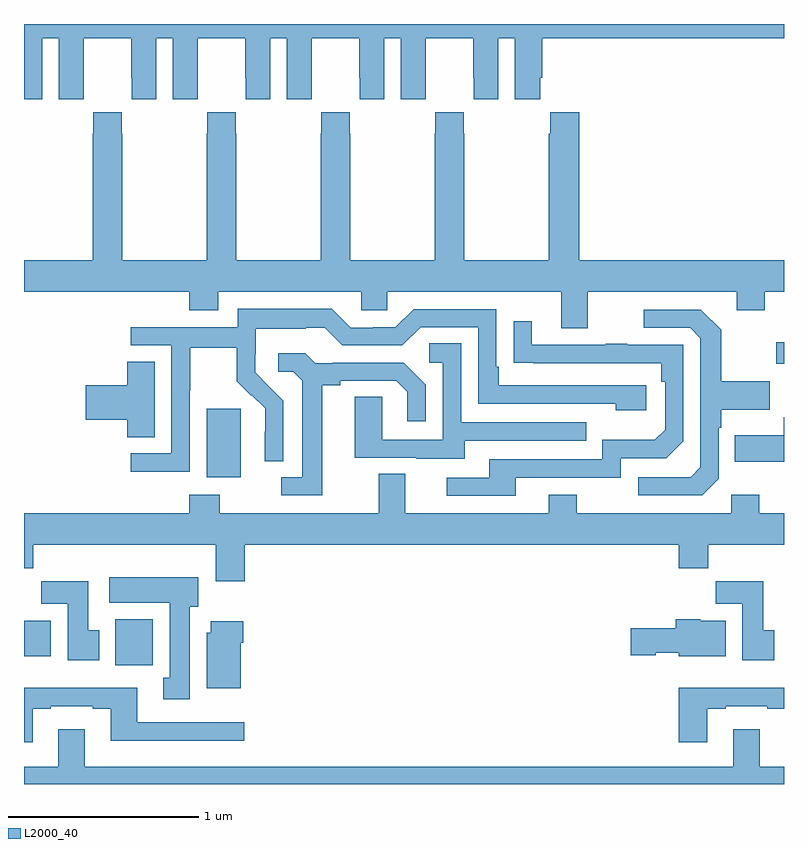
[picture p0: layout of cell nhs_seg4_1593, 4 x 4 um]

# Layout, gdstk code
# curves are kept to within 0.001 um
import gdstk
lib = gdstk.Library(unit=1e-6, precision=1e-09)
def R(c, l, rs):  # rectangles x0, y0, x1, y1
    for r in rs: c.add(gdstk.rectangle(r[:2], r[2:], *l))
def P(c, l, *ps):  # polygons
    for p in ps: c.add(gdstk.Polygon(p, *l))
L2000_40 = (2000, 40)

nhs_seg4_1593 = lib.new_cell('nhs_seg4_1593')
R(nhs_seg4_1593, L2000_40, [(193.481,789.524,193.678,789.766), (193,789.572,193.141,789.76), (193.961,790.514,194.14,790.875), (196.959,791.111,197,791.224)])
P(nhs_seg4_1593, L2000_40, [(193.096,792.824),(193.184,792.824),(193.184,792.504),(193.314,792.504),(193.314,792.616),(193.315,792.616),(193.315,792.824),(193.565,792.824),(193.565,792.616),(193.566,792.616),(193.566,792.504),(193.696,792.504),(193.696,792.824),(193.784,792.824),(193.784,792.504),(193.914,792.504),(193.914,792.616),(193.915,792.616),(193.915,792.824),(194.165,792.824),(194.165,792.616),(194.166,792.616),(194.166,792.504),(194.296,792.504),(194.296,792.824),(194.384,792.824),(194.384,792.504),(194.514,792.504),(194.514,792.616),(194.515,792.616),(194.515,792.824),(194.765,792.824),(194.765,792.616),(194.766,792.616),(194.766,792.504),(194.896,792.504),(194.896,792.824),(194.984,792.824),(194.984,792.504),(195.114,792.504),(195.114,792.616),(195.115,792.616),(195.115,792.824),(195.365,792.824),(195.365,792.616),(195.366,792.616),(195.366,792.504),(195.496,792.504),(195.496,792.824),(195.584,792.824),(195.584,792.504),(195.718,792.504),(195.718,792.616),(195.728,792.616),(195.728,792.824),(197,792.824),(197,792.9),(193,792.9),(193,792.504),(193.096,792.504)],
  [(195.967,791.492),(196.751,791.492),(196.751,791.393),(196.899,791.393),(196.899,791.492),(197,791.492),(197,791.656),(195.923,791.656),(195.923,792.436),(195.769,792.436),(195.769,792.323),(195.763,792.323),(195.763,791.656),(195.318,791.656),(195.318,792.323),(195.315,792.323),(195.315,792.436),(195.165,792.436),(195.165,792.323),(195.163,792.323),(195.163,791.656),(194.718,791.656),(194.718,792.323),(194.715,792.323),(194.715,792.436),(194.565,792.436),(194.565,792.323),(194.563,792.323),(194.563,791.656),(194.118,791.656),(194.118,792.323),(194.115,792.323),(194.115,792.436),(193.965,792.436),(193.965,792.323),(193.963,792.323),(193.963,791.656),(193.518,791.656),(193.518,792.323),(193.515,792.323),(193.515,792.436),(193.365,792.436),(193.365,792.323),(193.363,792.323),(193.363,791.656),(193,791.656),(193,791.492),(193.871,791.492),(193.871,791.393),(194.023,791.393),(194.023,791.492),(194.775,791.492),(194.775,791.394),(194.913,791.394),(194.913,791.492),(195.827,791.492),(195.827,791.298),(195.967,791.298)],
  [(193.872,790.972),(193.875,790.972),(193.875,791.196),(194.119,791.196),(194.119,791.021),(194.196,790.944),(194.199,790.947),(194.27,790.877),(194.27,790.754),(194.268,790.754),(194.268,790.6),(194.364,790.6),(194.364,790.918),(194.218,791.066),(194.218,791.163),(194.22,791.163),(194.22,791.297),(194.483,791.297),(194.483,791.301),(194.583,791.301),(194.676,791.208),(194.991,791.208),(195.087,791.304),(195.39,791.304),(195.39,790.902),(196.115,790.902),(196.115,790.868),(196.276,790.868),(196.276,790.998),(195.499,790.998),(195.499,791.095),(195.486,791.095),(195.486,791.4),(195.051,791.4),(194.955,791.304),(194.837,791.304),(194.837,791.301),(194.721,791.301),(194.621,791.401),(194.124,791.401),(194.124,791.304),(193.563,791.304),(193.563,791.208),(193.776,791.208),(193.776,790.641),(193.563,790.641),(193.563,790.543),(193.872,790.543)],
  [(196.656,790.506),(196.656,790.775),(196.669,790.775),(196.669,790.871),(196.925,790.871),(196.925,791.019),(196.669,791.019),(196.669,791.291),(196.563,791.397),(196.263,791.397),(196.263,791.301),(196.506,791.301),(196.56,791.247),(196.56,790.566),(196.509,790.515),(196.233,790.515),(196.233,790.419),(196.569,790.419)],
  [(195.589,790.512),(196.14,790.512),(196.14,790.614),(196.38,790.614),(196.47,790.704),(196.47,791.211),(196.175,791.211),(196.175,791.216),(196.063,791.216),(196.063,791.211),(195.673,791.211),(195.673,791.335),(195.577,791.335),(195.577,791.116),(196.354,791.115),(196.354,791.018),(196.374,791.018),(196.374,790.764),(196.321,790.711),(196.044,790.711),(196.044,790.608),(195.449,790.608),(195.449,790.512),(195.225,790.512),(195.225,790.416),(195.589,790.416)],
  [(195.319,790.707),(195.959,790.707),(195.959,790.803),(195.3,790.803),(195.3,791.219),(195.132,791.219),(195.132,791.118),(195.204,791.118),(195.204,790.713),(194.886,790.713),(194.886,790.937),(194.741,790.937),(194.741,790.617),(195.065,790.617),(195.065,790.613),(195.319,790.613)],
  [(194.569,791),(194.665,791),(194.665,791.022),(194.96,791.022),(195.017,790.965),(195.017,790.809),(195.114,790.809),(195.114,791.002),(194.998,791.118),(194.626,791.118),(194.626,791.115),(194.532,791.115),(194.48,791.167),(194.337,791.167),(194.337,791.07),(194.418,791.07),(194.465,791.023),(194.465,790.515),(194.355,790.515),(194.355,790.419),(194.569,790.419)],
  [(193.687,791.123),(193.544,791.123),(193.544,791),(193.326,791),(193.326,790.817),(193.544,790.817),(193.544,790.726),(193.687,790.726)],
  [(197,790.831),(196.998,790.831),(196.998,790.735),(196.741,790.735),(196.741,790.595),(197,790.595)],
  [(194.162,790.16),(196.445,790.16),(196.445,790.036),(196.601,790.036),(196.601,790.16),(197,790.16),(197,790.324),(196.869,790.324),(196.869,790.423),(196.722,790.423),(196.722,790.324),(195.909,790.324),(195.909,790.423),(195.761,790.423),(195.761,790.324),(195.007,790.324),(195.007,790.532),(194.867,790.532),(194.867,790.324),(194.031,790.324),(194.031,790.423),(193.871,790.423),(193.871,790.324),(193,790.324),(193,790.036),(193.049,790.036),(193.049,790.16),(194.009,790.16),(194.009,789.966),(194.162,789.966)],
  [(193.873,789.834),(193.918,789.834),(193.918,789.988),(193.449,789.988),(193.449,789.854),(193.766,789.854),(193.766,789.458),(193.733,789.458),(193.733,789.345),(193.873,789.345)],
  [(196.948,789.708),(196.891,789.708),(196.891,789.967),(196.642,789.967),(196.642,789.848),(196.781,789.848),(196.781,789.552),(196.948,789.552)],
  [(193.396,789.708),(193.339,789.708),(193.339,789.967),(193.09,789.967),(193.09,789.848),(193.229,789.848),(193.229,789.552),(193.396,789.552)],
  [(196.693,789.76),(196.56,789.76),(196.56,789.766),(196.43,789.766),(196.43,789.72),(196.194,789.72),(196.194,789.578),(196.326,789.578),(196.326,789.59),(196.446,789.59),(196.446,789.572),(196.693,789.572)],
  [(194.14,789.644),(194.153,789.644),(194.153,789.757),(193.982,789.757),(193.982,789.696),(193.961,789.696),(193.961,789.404),(194.14,789.404)],
  [(196.597,789.297),(196.693,789.297),(196.693,789.309),(196.913,789.309),(196.913,789.297),(197,789.297),(197,789.406),(196.445,789.406),(196.445,789.12),(196.597,789.12)],
  [(193.045,789.297),(193.141,789.297),(193.141,789.309),(193.361,789.309),(193.361,789.297),(193.457,789.297),(193.457,789.128),(194.158,789.128),(194.158,789.225),(193.597,789.225),(193.597,789.406),(193,789.406),(193,789.12),(193.045,789.12)],
  [(197,788.992),(196.873,788.992),(196.873,789.187),(196.733,789.187),(196.733,788.992),(193.321,788.992),(193.321,789.187),(193.181,789.187),(193.181,788.992),(193,788.992),(193,788.9),(197,788.9)])

lib.write_gds('nhs_seg4_1593.gds')
